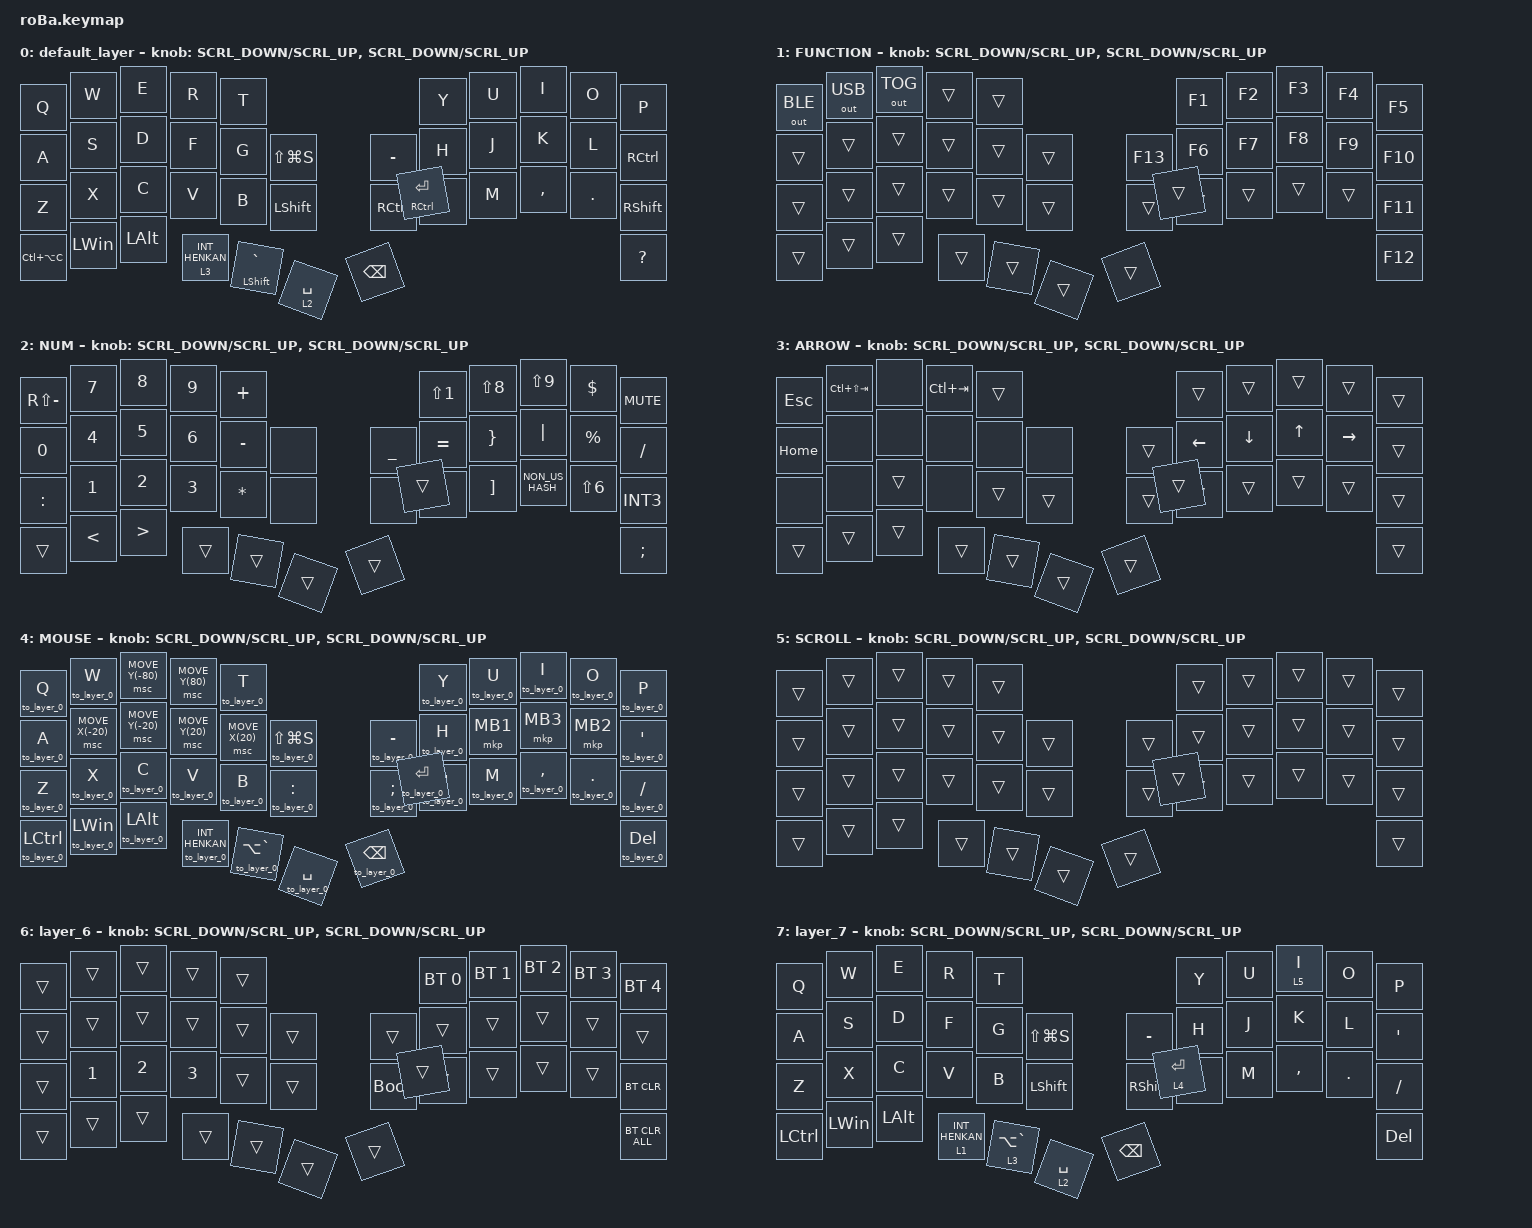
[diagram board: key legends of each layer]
// ZMK の標準ビヘイビア（タップ・ホールドなど）を読み込む。
// Bluetooth 接続先を切り替えるキーコードを読み込む。
// 通常のキーコードと修飾キーの定義を読み込む。
// ポインティングデバイス（トラックボール）の定義を読み込む。
// 10 ms の生成周期で、各エンコーダーノッチを1目盛りのスクロールにする。

#define ZMK_POINTING_DEFAULT_SCRL_VAL 100

#include <behaviors.dtsi>
#include <dt-bindings/zmk/bt.h>
#include <dt-bindings/zmk/keys.h>
#include <dt-bindings/zmk/outputs.h>
#include <dt-bindings/zmk/pointing.h>

&msc {
    // 15 ms のタップ中に1回だけレポートし、高速回転や反転時の滞留を防ぐ。

    trigger-period-ms = <10>;
};

// 修飾キーを長押し／タップで兼用する際の判定を調整する。

&mt {
    // タップとホールドの中間的な判定を使う。

    flavor = "balanced";

    // 連続タップをホールドとして扱わない。

    quick-tap-ms = <0>;
};

// トラックボールのレイヤー連動設定。

&trackball {
    // マウス移動時に自動で有効にするレイヤー（MOUSE = 4）。

    automouse-layer = <4>;

    // このレイヤー（SCROLL = 5）では移動をスクロールとして扱う。

    scroll-layers = <5>;

    // 矢印キーでポインタを動かす設定例（現在は無効）。
    // arrows {
    //     // この設定を有効にするレイヤー（ARROW = 3）。
    //     layers = <3>;
    //     // 右・左・上・下の移動キーを順に指定する。
    //     bindings =
    //         <&kp RIGHT_ARROW>,
    //         <&kp LEFT_ARROW>,
    //         <&kp UP_ARROW>,
    //         <&kp DOWN_ARROW>;
    //     tick = <10>;
    //     wait-ms = <5>;
    //     tap-ms = <5>;
    // };
};

/ {
    // 2キー同時押しで別のキーを送るコンボ定義。

    combos {
        // ZMK のコンボ機能を使う。

        compatible = "zmk,combos";

        // 位置 11 + 12 の同時押しで Tab。

        tab {
            bindings = <&kp TAB>;
            key-positions = <11 12>;
        };

        // 位置 12 + 13 の同時押しで Shift + Tab。

        shift_tab {
            bindings = <&kp LS(TAB)>;
            key-positions = <12 13>;
        };

        // 位置 11 + 10 の同時押しで、無変換を送った後にレイヤー 0 へ戻る。

        muhennkann {
            bindings = <&to_layer_0 INT_MUHENKAN>;
            key-positions = <11 10>;
        };

        // 位置 20 + 21 の同時押しでダブルクォーテーション。

        double_quotation {
            bindings = <&kp DOUBLE_QUOTES>;
            key-positions = <20 21>;
        };

        // 位置 24 + 25 の同時押しでイコール。

        eq {
            bindings = <&kp EQUAL>;
            key-positions = <24 25>;
        };
    };

    // 他のビヘイビアから呼ぶ、レイヤー復帰用マクロ。

    macros {
        // 引数のキーを送る前にレイヤー 0（default_layer）へ戻る。

        to_layer_0: to_layer_0 {
            // 1引数を受け取るマクロとして登録する。

            compatible = "zmk,behavior-macro-one-param";

            // 呼び出し時にキーコードを1つ受け取る。

            #binding-cells = <1>;

            // レイヤー 0 へ移動してから、受け取ったキーを送る。

            bindings = <&to 0 &macro_param_1to1 &kp MACRO_PLACEHOLDER>;

            // ZMK Studio 等に表示する名前。

            label = "TO_LAYER_0";
        };
    };

    // キーに割り当てる独自ビヘイビア。

    behaviors {
        // 長押し時は指定レイヤーを有効化、タップ時はレイヤー 0 復帰後に指定キーを送る。

        lt_to_layer_0: lt_to_layer_0 {
            // ホールド／タップ複合ビヘイビアを使う。

            compatible = "zmk,behavior-hold-tap";

            // ZMK Studio 等に表示する名前。

            label = "LAYER_TAP_TO_0";

            // ホールド時は &mo、タップ時は上記の復帰マクロを実行する。

            bindings = <&mo>, <&to_layer_0>;

            // 呼び出し時に「レイヤー番号」と「タップ時のキー」を受け取る。

            #binding-cells = <2>;

            // 200 ms 以内に離せばタップとして扱う。

            tapping-term-ms = <200>;
        };

        // エンコーダーの回転を、通常時はマウススクロールに割り当てる。

        inc_dec_msc: inc_dec_msc {
            // センサー回転量に応じて別ビヘイビアを実行する。

            compatible = "zmk,behavior-sensor-rotate-var";

            // ZMK Studio 等に表示する名前。

            label = "ENCODER_MOUSE_SCROLL";

            // 回転方向ごとに2つの引数を受け取る。

            #sensor-binding-cells = <2>;

            // 逆方向／順方向ともにマウススクロールを実行する。

            bindings = <&msc>, <&msc>;

            // 10 ms の生成を待ち、2回目の生成前に解除する。

            tap-ms = <15>;
        };
    };

    // レイヤーごとのキー配置。各行は左端から右端までの物理キー順。

    keymap {
        // ZMK のキーマップ機能を使う。

        compatible = "zmk,keymap";

        // レイヤー 0: 通常入力用の基本レイヤー。

        default_layer {
            // 1段目: QWERTY と右手の Y〜P。

            bindings = <
&kp Q          &kp W         &kp E         &kp R                        &kp T                                                                &kp Y                    &kp U  &kp I      &kp O    &kp P
&kp A          &kp S         &kp D         &kp F                        &kp G                 &kp LS(LG(S))               &kp MINUS          &kp H                    &kp J  &kp K      &kp L    &kp RIGHT_CONTROL
&kp Z          &kp X         &kp C         &kp V                        &kp B                 &kp LEFT_SHIFT              &kp RIGHT_CONTROL  &kp N                    &kp M  &kp COMMA  &kp DOT  &kp RIGHT_SHIFT
&kp LC(LA(C))  &kp LEFT_WIN  &kp LEFT_ALT  &lt_to_layer_0 3 INT_HENKAN  &mt LEFT_SHIFT GRAVE  &lt_to_layer_0 2 SPACE      &kp BACKSPACE      &mt RIGHT_CONTROL ENTER                             &kp QUESTION
            >;

            // 左右エンコーダー: 逆回転／順回転をスクロール上／下にする。

            sensor-bindings =
                <&inc_dec_msc SCRL_DOWN SCRL_UP>,
                <&inc_dec_msc SCRL_DOWN SCRL_UP>;
        };

        // レイヤー 1: FUNCTION。&mo 1 を押している間だけ有効。

        FUNCTION {
            // 1段目: 左手側で出力先を選択し、右手側に F1〜F5。

            bindings = <
&out OUT_BLE  &out OUT_USB  &out OUT_TOG  &trans  &trans                       &kp F1  &kp F2  &kp F3  &kp F4  &kp F5
&trans        &trans        &trans        &trans  &trans  &trans      &kp F13  &kp F6  &kp F7  &kp F8  &kp F9  &kp F10
&trans        &trans        &trans        &trans  &trans  &trans      &trans   &trans  &trans  &trans  &trans  &kp F11
&trans        &trans        &trans        &trans  &trans  &trans      &trans   &trans                          &kp F12
            >;

            // 両エンコーダー: 回転でマウスホイールを上下へスクロールする。

            sensor-bindings = <&inc_dec_msc SCRL_DOWN SCRL_UP &inc_dec_msc SCRL_DOWN SCRL_UP>;
        };

        // レイヤー 2: NUM。Space の長押し中に有効。

        NUM {
            // 1段目: テンキー上段と記号。

            bindings = <
&kp RS(MINUS)  &kp NUMBER_7   &kp NUMBER_8  &kp NUMBER_9  &kp PLUS                               &kp LS(NUMBER_1)  &kp LS(N8)         &kp LS(NUMBER_9)  &kp DOLLAR        &kp K_MUTE
&kp NUMBER_0   &kp NUMBER_4   &kp NUMBER_5  &kp NUMBER_6  &kp MINUS  &none       &kp UNDERSCORE  &kp EQUAL         &kp RIGHT_BRACE    &kp PIPE          &kp PERCENT       &kp SLASH
&kp COLON      &kp NUMBER_1   &kp NUMBER_2  &kp NUMBER_3  &kp ASTRK  &none       &none           &kp LEFT_BRACKET  &kp RIGHT_BRACKET  &kp NON_US_HASH   &kp LS(NUMBER_6)  &kp INT3
&trans         &kp LESS_THAN  &kp GT        &trans        &trans     &trans      &trans          &trans                                                                   &kp SEMICOLON
            >;

            // 両エンコーダー: 回転でマウスホイールを上下へスクロールする。

            sensor-bindings = <&inc_dec_msc SCRL_DOWN SCRL_UP &inc_dec_msc SCRL_DOWN SCRL_UP>;
        };

        // レイヤー 3: ARROW。Grave の長押し中に有効。

        ARROW {
            // 1段目: Esc、ウィンドウ／タブ切替。&none は無効キー。

            bindings = <
&kp ESCAPE  &kp LC(LS(TAB))  &none   &kp LC(TAB)  &trans                      &trans    &trans    &trans  &trans     &trans
&kp HOME    &none            &none   &none        &none   &none       &trans  &kp LEFT  &kp DOWN  &kp UP  &kp RIGHT  &trans
&none       &none            &trans  &none        &trans  &trans      &trans  &trans    &trans    &trans  &trans     &trans
&trans      &trans           &trans  &trans       &trans  &trans      &trans  &trans                                 &trans
            >;

            // 両エンコーダー: 回転でマウスホイールを上下へスクロールする。

            sensor-bindings = <&inc_dec_msc SCRL_DOWN SCRL_UP &inc_dec_msc SCRL_DOWN SCRL_UP>;
        };

        // レイヤー 4: MOUSE。トラックボール移動時に自動で有効。

        MOUSE {
            // 1段目: 押すとレイヤー 0 に戻ってから Q〜P を送る。

            bindings = <
&to_layer_0 Q      &to_layer_0 W         &msc MOVE_Y(-80)      &msc MOVE_Y(80)         &to_layer_0 T                                                            &to_layer_0 Y      &to_layer_0 U  &to_layer_0 I      &to_layer_0 O    &to_layer_0 P
&to_layer_0 A      &msc MOVE_X(-20)      &msc MOVE_Y(-20)      &msc MOVE_Y(20)         &msc MOVE_X(20)        &to_layer_0 LS(LG(S))      &to_layer_0 MINUS      &to_layer_0 H      &mkp MB1       &mkp MB3           &mkp MB2         &to_layer_0 SQT
&to_layer_0 Z      &to_layer_0 X         &to_layer_0 C         &to_layer_0 V           &to_layer_0 B          &to_layer_0 COLON          &to_layer_0 SEMICOLON  &to_layer_0 N      &to_layer_0 M  &to_layer_0 COMMA  &to_layer_0 DOT  &to_layer_0 SLASH
&to_layer_0 LCTRL  &to_layer_0 LEFT_WIN  &to_layer_0 LEFT_ALT  &to_layer_0 INT_HENKAN  &to_layer_0 LA(GRAVE)  &to_layer_0 SPACE          &to_layer_0 BACKSPACE  &to_layer_0 ENTER                                                     &to_layer_0 DEL
            >;

            // 両エンコーダー: 回転でマウスホイールを上下へスクロールする。

            sensor-bindings = <&inc_dec_msc SCRL_DOWN SCRL_UP &inc_dec_msc SCRL_DOWN SCRL_UP>;
        };

        // レイヤー 5: SCROLL。I の長押し中はトラックボールをスクロールにする。

        SCROLL {
            // すべて下位レイヤーを使用するため、キー配置は変えない。

            bindings = <
&trans  &trans  &trans  &trans  &trans                      &trans  &trans  &trans  &trans  &trans
&trans  &trans  &trans  &trans  &trans  &trans      &trans  &trans  &trans  &trans  &trans  &trans
&trans  &trans  &trans  &trans  &trans  &trans      &trans  &trans  &trans  &trans  &trans  &trans
&trans  &trans  &trans  &trans  &trans  &trans      &trans  &trans                          &trans
            >;

            // 両エンコーダー: 回転でマウスホイールを上下へスクロールする。

            sensor-bindings = <&inc_dec_msc SCRL_DOWN SCRL_UP &inc_dec_msc SCRL_DOWN SCRL_UP>;
        };

        // レイヤー 6: Bluetooth 接続先とファームウェア操作。

        layer_6 {
            // 1段目: Bluetooth プロファイル 0〜4 を選択。

            bindings = <
&trans  &trans        &trans        &trans        &trans                           &bt BT_SEL 0  &bt BT_SEL 1  &bt BT_SEL 2  &bt BT_SEL 3  &bt BT_SEL 4
&trans  &trans        &trans        &trans        &trans  &trans      &trans       &trans        &trans        &trans        &trans        &trans
&trans  &kp NUMBER_1  &kp NUMBER_2  &kp NUMBER_3  &trans  &trans      &bootloader  &trans        &trans        &trans        &trans        &bt BT_CLR
&trans  &trans        &trans        &trans        &trans  &trans      &trans       &trans                                                  &bt BT_CLR_ALL
            >;

            // 両エンコーダー: 回転でマウスホイールを上下へスクロールする。

            sensor-bindings = <&inc_dec_msc SCRL_DOWN SCRL_UP &inc_dec_msc SCRL_DOWN SCRL_UP>;
        };

        // レイヤー 7: レイヤー 0 とほぼ同じ代替基本レイヤー。

        layer_7 {
            // 1段目: QWERTY と右手の Y〜P。

            bindings = <
&kp Q      &kp W         &kp E         &kp R                        &kp T                                                         &kp Y        &kp U  &lt 5 I    &kp O    &kp P
&kp A      &kp S         &kp D         &kp F                        &kp G            &kp LS(LG(S))               &kp MINUS        &kp H        &kp J  &kp K      &kp L    &kp SQT
&kp Z      &kp X         &kp C         &kp V                        &kp B            &kp LEFT_SHIFT              &kp RIGHT_SHIFT  &kp N        &kp M  &kp COMMA  &kp DOT  &kp SLASH
&kp LCTRL  &kp LEFT_WIN  &kp LEFT_ALT  &lt_to_layer_0 1 INT_HENKAN  &lt 3 LA(GRAVE)  &lt_to_layer_0 2 SPACE      &kp BACKSPACE    &lt 4 ENTER                             &kp DEL
            >;

            // 両エンコーダー: 回転でマウスホイールを上下へスクロールする。

            sensor-bindings = <&inc_dec_msc SCRL_DOWN SCRL_UP &inc_dec_msc SCRL_DOWN SCRL_UP>;
        };
    };
};
